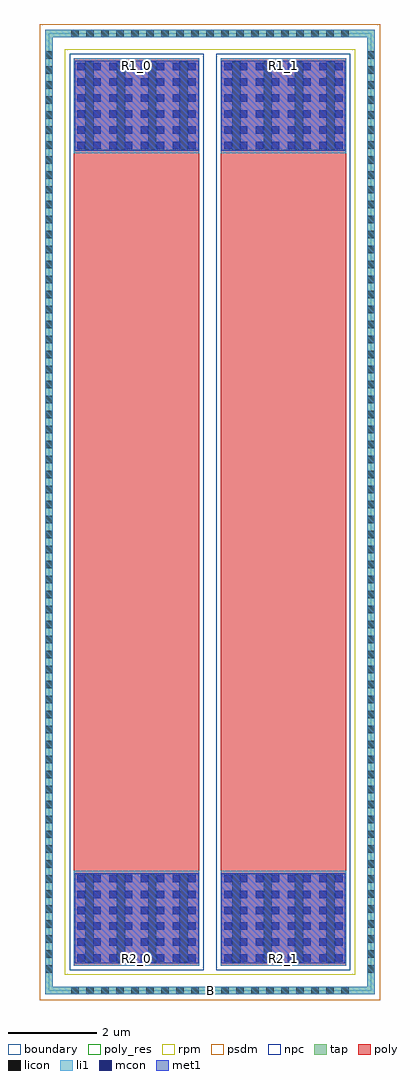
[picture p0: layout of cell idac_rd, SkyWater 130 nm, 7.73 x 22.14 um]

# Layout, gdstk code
import gdstk
lib = gdstk.Library(unit=1e-6, precision=1e-09)
def R(c, l, rs):  # rectangles x0, y0, x1, y1
    for r in rs: c.add(gdstk.rectangle(r[:2], r[2:], *l))
def A(c, l, x, y, w, h, nx, ny, dx, dy):  # array of equal rectangles
    R(c, l, [(x+i*dx, y+j*dy, x+i*dx+w, y+j*dy+h) for i in range(nx) for j in range(ny)])
tap = (65, 44)
poly_res = (66, 13)
poly = (66, 20)
licon = (66, 44)
li1 = (67, 20)
mcon = (67, 44)
met1 = (68, 20)
rpm = (86, 20)
psdm = (94, 20)
npc = (95, 20)
boundary = (235, 4)

idac_rd = lib.new_cell('idac_rd')
R(idac_rd, tap, [(-3.74,-10.945,3.74,-10.775), (-3.74,-10.775,-3.57,10.775), (3.57,-10.775,3.74,10.775), (-3.74,10.775,3.74,10.945)])
R(idac_rd, poly_res, [(-3.09,-8.215,-0.24,8.215), (0.24,-8.215,3.09,8.215)])
R(idac_rd, poly, [(-3.09,-10.295,-0.24,10.295), (0.24,-10.295,3.09,10.295)])
A(idac_rd, licon, -3.145, -10.945, 0.17, 0.17, 19, 2, 0.34, 21.72)
A(idac_rd, licon, -3.74, -10.455, 0.17, 0.17, 1, 62, 0, 0.34)
A(idac_rd, licon, 3.57, -10.455, 0.17, 0.17, 1, 62, 0, 0.34)
A(idac_rd, licon, -2.825, -10.215, 0.19, 2, 4, 2, 0.71, 18.43)
A(idac_rd, licon, 0.505, -10.215, 0.19, 2, 4, 2, 0.71, 18.43)
R(idac_rd, li1, [(-3.74,-10.945,3.74,-10.775), (-3.74,-10.775,-3.57,10.775), (3.57,-10.775,3.74,10.775), (-3.09,-10.295,-0.24,-8.135), (0.24,-10.295,3.09,-8.135), (-3.09,8.135,-0.24,10.295), (0.24,8.135,3.09,10.295), (-3.74,10.775,3.74,10.945)])
A(idac_rd, mcon, -3.01, -10.2, 0.17, 0.17, 8, 6, 0.36, 0.36)
A(idac_rd, mcon, 0.32, -10.2, 0.17, 0.17, 8, 6, 0.36, 0.36)
A(idac_rd, mcon, -3.01, 8.225, 0.17, 0.17, 8, 6, 0.36, 0.36)
A(idac_rd, mcon, 0.32, 8.225, 0.17, 0.17, 8, 6, 0.36, 0.36)
R(idac_rd, met1, [(-3.07,-10.235,-0.26,-8.19), (0.26,-10.235,3.07,-8.19), (-3.07,8.19,-0.26,10.235), (0.26,8.19,3.07,10.235)])
R(idac_rd, rpm, [(-3.29,-10.495,3.29,10.495)])
R(idac_rd, psdm, [(-3.865,-11.07,3.865,11.07)])
R(idac_rd, npc, [(-3.185,-10.39,-0.145,10.39), (0.145,-10.39,3.185,10.39)])
R(idac_rd, boundary, [(-3.655,-10.86,3.655,10.86)])
idac_rd.add(gdstk.Label('B', (0,-10.86), layer=67, texttype=5))
idac_rd.add(gdstk.Label('R1_0', (-1.665,10.12), layer=67, texttype=5))
idac_rd.add(gdstk.Label('R2_0', (-1.665,-10.12), layer=67, texttype=5))
idac_rd.add(gdstk.Label('R1_1', (1.665,10.12), layer=67, texttype=5))
idac_rd.add(gdstk.Label('R2_1', (1.665,-10.12), layer=67, texttype=5))

lib.write_gds('idac_rd.gds')
